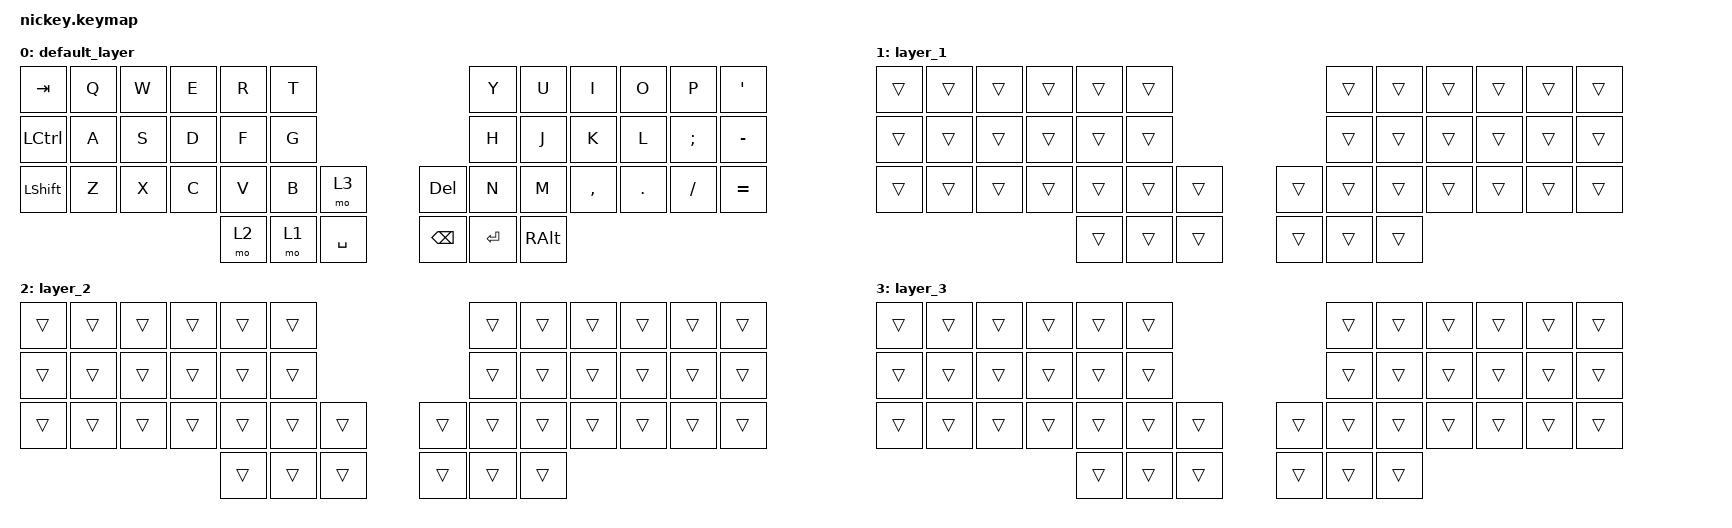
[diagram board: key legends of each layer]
#include <behaviors.dtsi>
#include <dt-bindings/zmk/keys.h>

&mt {
    flavor = "balanced";
    quick-tap-ms = <0>;
};

&lt {
    quick-tap-ms = <300>;
    flavor = "balanced";
};

/ {
    combos {
        compatible = "zmk,combos";

        layer4_ESC {
            bindings = <&lt 4 ESC>;
            key-positions = <39 38>;
        };

        tab {
            bindings = <&kp TAB>;
            key-positions = <11 12>;
        };
    };

    macros {
        to_layer_0: to_layer_0 {
            compatible = "zmk,behavior-macro-one-param";
            #binding-cells = <1>;
            bindings = <&to 0 &macro_param_1to1 &kp MACRO_PLACEHOLDER>;
            label = "TO_LAYER_0";
        };
    };

    behaviors {
        lt_to_layer_0: lt_to_layer_0 {
            compatible = "zmk,behavior-hold-tap";
            label = "LAYER_TAP_TO_0";
            bindings = <&mo>, <&to_layer_0>;

            #binding-cells = <2>;
            tapping-term-ms = <200>;
        };

    };

    keymap {
        compatible = "zmk,keymap";

        default_layer {
            bindings = <
&kp TAB    &kp Q  &kp W  &kp E  &kp R  &kp T                           &kp Y    &kp U     &kp I      &kp O    &kp P     &kp SQT
&kp LCTRL  &kp A  &kp S  &kp D  &kp F  &kp G                           &kp H    &kp J     &kp K      &kp L    &kp SEMI  &kp MINUS
&kp LSHFT  &kp Z  &kp X  &kp C  &kp V  &kp B  &mo 3        &kp DELETE  &kp N    &kp M     &kp COMMA  &kp DOT  &kp FSLH  &kp EQUAL
                                &mo 2  &mo 1  &kp SPACE    &kp BSPC    &kp RET  &kp RALT
            >;
        };

        layer_1 {
            bindings = <
&trans  &trans  &trans  &trans  &trans  &trans                    &trans  &trans  &trans  &trans  &trans  &trans
&trans  &trans  &trans  &trans  &trans  &trans                    &trans  &trans  &trans  &trans  &trans  &trans
&trans  &trans  &trans  &trans  &trans  &trans  &trans    &trans  &trans  &trans  &trans  &trans  &trans  &trans
                                &trans  &trans  &trans    &trans  &trans  &trans
            >;
        };

        layer_2 {
            bindings = <
&trans  &trans  &trans  &trans  &trans  &trans                    &trans  &trans  &trans  &trans  &trans  &trans
&trans  &trans  &trans  &trans  &trans  &trans                    &trans  &trans  &trans  &trans  &trans  &trans
&trans  &trans  &trans  &trans  &trans  &trans  &trans    &trans  &trans  &trans  &trans  &trans  &trans  &trans
                                &trans  &trans  &trans    &trans  &trans  &trans
            >;
        };

        layer_3 {
            bindings = <
&trans  &trans  &trans  &trans  &trans  &trans                    &trans  &trans  &trans  &trans  &trans  &trans
&trans  &trans  &trans  &trans  &trans  &trans                    &trans  &trans  &trans  &trans  &trans  &trans
&trans  &trans  &trans  &trans  &trans  &trans  &trans    &trans  &trans  &trans  &trans  &trans  &trans  &trans
                                &trans  &trans  &trans    &trans  &trans  &trans
            >;
        };
    };
};
